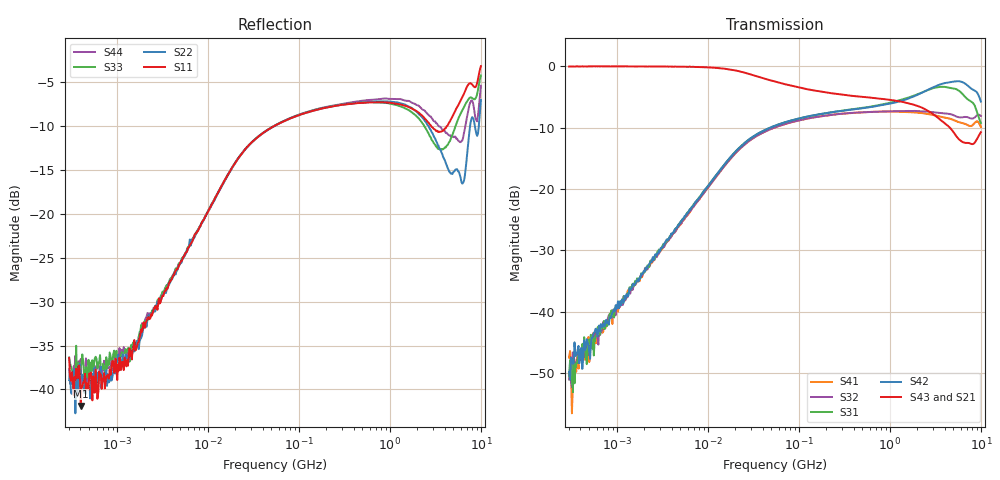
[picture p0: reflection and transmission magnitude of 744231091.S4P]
! This data is being provided by Wuerth Elektronik eiSos GmbH & Co. KG to the industry for analysis.
! Document information:
! Version:rev19a Date: 16/12/2019
! Component information:
! Match Code: WE-CNSW P/N: 744231091 Size: 0805
! Disclaimer:  While Würth Elektronik eiSos has made every reasonable effort to ensure the accuracy
! of the information provided, Würth Elektronik eiSos does not guarantee the exemption of error on the
! data collection measurements, nor does Würth Elektronik eiSos guarantee that the information is current.
! Würth Elektronik eiSos reserves the right to make any adjustments at any time without notice.
! Würth Elektronik eiSos expressly disclaims all implied warranties regarding this measurement data collection.
! Note 1  This data measurement is representative according to the product implementation into the fixture.
! Component behavior is sensitive to implementation into the fixture, which includes board
! materials, trace geometry information, connector pin out, layer connection, use of de-embedding
! techniques, etc.
! Note 2 - The fixture was designed specifically to match the 50 Ohm line impedance, as well as the connector impedance,
! in order to accomplish a reliable measurement without reflections in the trace. Any other implementation of the fixture will change the obtained
! measurement performance. The used fixture behavior was de-embedded to accomplish reliable measurement results.
! The test setup consisted of the following:
!  - Agilent VNA E5071C or E5071B
!  - Calibrations are SOLT (short open load thru)
!  - De-embedding of the SMA's or line cards were included
!  - Equipment Settings -
!  - Sampling - 501 points
!  - IF BW  70 kHz
!  - Averaging  Not used
!  Port 1----->|1|  |2| -----> Port 3
!  |  DUT  |
!  Port 2----->|3|  |4| -----> Port 4
!*VNA Port --> |Port in Datasheet|
! |Port in Datasheet| --> VNA Port
! For further information regarding this testing, please contact
! Wuerth Elektronik eiSos
! Contact: EDA team in QDC
! Email: libraries@we-online.com or libraries@we-online.de
# Hz S dB R 50
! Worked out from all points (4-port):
!   501 points, 300 kHz to 10 GHz, reference 50 ohm
!   strongest paths, dB at 300 kHz, 4.054 MHz, 54.77 MHz, 740.1 MHz, 10 GHz:
!     S43: -0.1, -0.1, -2.5, -5.3, -10.8
!     S21: 0.0, -0.1, -2.5, -5.2, -11.4
!     S42: -49.8, -27.3, -9.7, -6.5, -5.8
!     S31: -50.5, -27.2, -9.7, -6.4, -9.2
!     S32: -51.1, -27.6, -10.0, -7.4, -8.1
!     S41: -47.5, -27.5, -10.0, -7.4, -9.9
!   lowest |S11| = -41.9 dB at 402.7 kHz (marker M1), VSWR 1.02, Z = 49.5 + j0.662 ohm
!   |S11| at or under -10 dB: start of sweep to 54.36 MHz; 2.834 GHz to 4.278 GHz (1.444 GHz wide, 40.6 % of centre)
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300000  -36.40 136.9  -0.04 1.3  -52.86 104.0  -48.34 -74.8
        -0.04 1.3  -38.94 137.4  -49.51 -105.6  -50.26 77.7
        -50.49 107.1  -51.05 -76.7  -36.37 134.0  -0.06 1.3
        -47.46 -81.9  -49.79 91.9  -0.05 1.3  -37.65 142.3
402688  -41.88 123.9  -0.05 1.3  -47.90 75.3  -46.14 -85.2
        -0.05 1.3  -38.40 129.6  -47.57 -90.7  -47.65 89.1
        -47.25 80.6  -46.84 -85.8  -37.47 132.5  -0.05 1.3
        -47.27 -90.9  -46.59 88.9  -0.02 1.3  -36.53 149.0
3.503628e7  -11.32 47.2  -1.67 -13.2  -11.01 46.8  -11.28 -134.7
            -1.67 -13.2  -11.34 47.1  -11.28 -134.9  -11.02 47.0
            -11.04 47.0  -11.30 -134.8  -11.31 47.4  -1.67 -13.2
            -11.30 -134.6  -11.04 46.9  -1.67 -13.3  -11.32 47.4
6.34169e8  -7.34 -2.2  -5.11 -21.0  -6.54 11.2  -7.44 167.4
           -5.11 -20.9  -7.26 -4.5  -7.43 164.7  -6.62 12.4
           -6.55 11.3  -7.44 164.8  -7.33 -4.2  -5.14 -21.4
           -7.44 167.5  -6.62 12.5  -5.14 -21.4  -7.05 -1.2
2.816136e9  -9.95 -4.3  -7.59 -71.3  -3.72 -1.8  -7.85 103.8
            -7.59 -71.2  -10.49 -30.3  -7.43 94.5  -3.63 8.2
            -3.70 -1.7  -7.46 94.7  -11.33 -12.5  -7.57 -73.4
            -7.87 104.1  -3.61 8.4  -7.56 -73.4  -8.94 -19.1
6.389075e9  -6.57 6.6  -12.79 -151.3  -4.68 -38.3  -9.30 37.4
            -12.75 -151.3  -16.47 17.1  -8.23 26.4  -2.68 -21.0
            -4.64 -38.2  -8.29 27.2  -8.07 13.6  -12.47 -156.9
            -9.30 38.1  -2.65 -21.1  -12.40 -157.0  -11.31 -5.5
1e10  -3.22 -15.5  -11.44 130.3  -9.11 -56.3  -10.01 -16.0
      -11.45 130.5  -7.06 12.1  -8.24 -24.2  -5.71 -43.7
      -9.24 -56.5  -8.09 -22.7  -4.27 -2.7  -10.85 125.9
      -9.88 -15.3  -5.76 -44.1  -10.75 125.4  -5.44 -11.5
